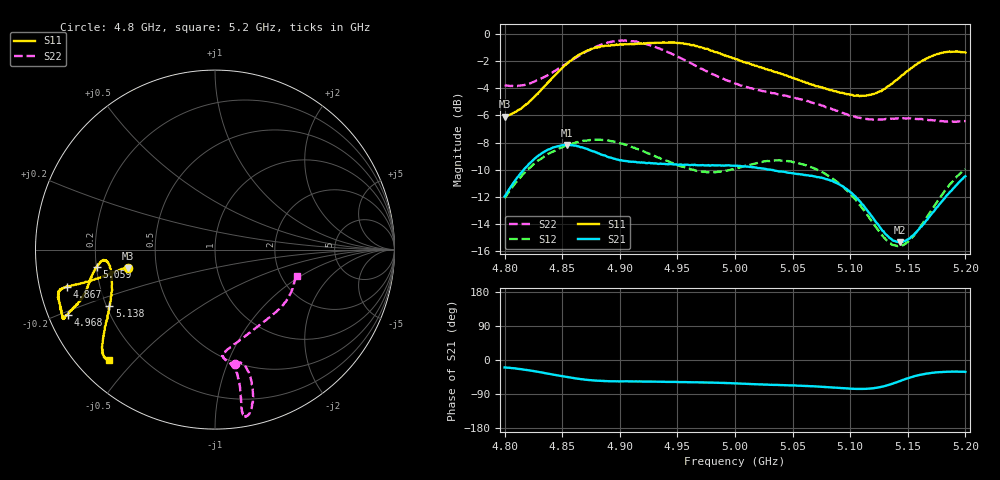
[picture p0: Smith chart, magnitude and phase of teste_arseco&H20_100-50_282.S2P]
! Network Analyzer HP8722D
! Hewlett-Packard
! Data name: Linha & Wilkinson
! Saver's name: Rodrigo Anjos
! Comments: Teste da utilização de aquisição
! continua pelo VNA HP8722D
! Time and date: 6/5/2025 14:55
!  Frequency  S11  S21  S12  S22
# HZ  S  MA R 50
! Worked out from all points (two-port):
!   401 points, 4.8 GHz to 5.2 GHz, reference 50 ohm
!   highest |S21| = -8.16 dB at 4.854 GHz (marker M1); lowest = -15.3 dB at 5.143 GHz (marker M2)
!   |S21| within 3 dB of the highest: 4.806 GHz to 5.092 GHz (286.4 MHz wide, 5.79 % of centre); 5.191862 GHz to end of sweep
!   lowest |S11| = -6.1 dB at 4.8 GHz (marker M3), VSWR 2.97, Z = 17 - j4.59 ohm
!   |S11| at or under -10 dB: nowhere
!   |S22| runs from -6.5 to -0.5 dB; largest |S21 - S12| = 0.62
!   S11 on the Smith chart (normalised r, x): 4.8 GHz: 0.34, -0.09; 4.867 GHz: 0.08, -0.12; 4.968 GHz: 0.06, -0.21; 5.059 GHz: 0.20, -0.07; 5.138 GHz: 0.21, -0.24; 5.2 GHz: 0.09, -0.42
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4.8e9  0.4968 -168.2  0.2524 -19.7  0.2485 -140.9  0.6473 -80.3
4.828e9  0.6003 -167.1  0.3537 -30.6  0.3384 -144.9  0.6756 -75.4
4.854e9  0.7767 -165.9  0.3907 -45.0  0.3889 -149.8  0.7787 -74.7
4.867e9  0.848 -165.9  0.383 -50.8  0.4028 -152.0  0.843 -75.4
4.879e9  0.8918 -165.6  0.3668 -54.3  0.4076 -154.1  0.895 -76.7
4.898e9  0.9098 -163.0  0.3448 -56.2  0.3979 -156.4  0.943 -78.9
4.915e9  0.9182 -159.4  0.337 -56.8  0.3778 -157.1  0.9349 -80.4
4.934e9  0.9272 -156.4  0.3326 -57.5  0.3509 -155.6  0.8835 -80.4
4.968e9  0.8984 -156.1  0.3289 -59.1  0.3136 -147.6  0.7546 -79.7
5e9  0.8085 -159.0  0.3278 -61.8  0.3196 -137.2  0.6571 -81.3
5.034e9  0.7265 -165.3  0.3145 -65.8  0.3423 -134.2  0.605 -85.6
5.059e9  0.6675 -171.5  0.3036 -68.3  0.3312 -136.0  0.5723 -84.4
5.067e9  0.6497 -173.0  0.3006 -69.1  0.3227 -136.7  0.5586 -82.6
5.083e9  0.6212 -174.4  0.2886 -72.2  0.2972 -138.3  0.5319 -76.7
5.101e9  0.5972 -172.0  0.2606 -75.8  0.2554 -138.8  0.5 -66.5
5.116e9  0.5956 -165.6  0.2208 -75.9  0.2126 -135.5  0.4849 -55.7
5.134e9  0.6454 -154.3  0.1779 -65.2  0.1706 -120.6  0.4868 -43.2
5.138e9  0.6667 -152.0  0.1733 -60.9  0.1672 -115.5  0.4872 -40.9
5.143e9  0.691 -149.2  0.1712 -55.9  0.166 -108.9  0.4886 -38.0
5.154e9  0.7544 -144.5  0.181 -44.4  0.1791 -95.0  0.4877 -32.3
5.173e9  0.8363 -138.8  0.2233 -33.3  0.2329 -80.8  0.4806 -24.2
5.2e9  0.8531 -133.7  0.2995 -31.5  0.3183 -76.9  0.478 -17.6
